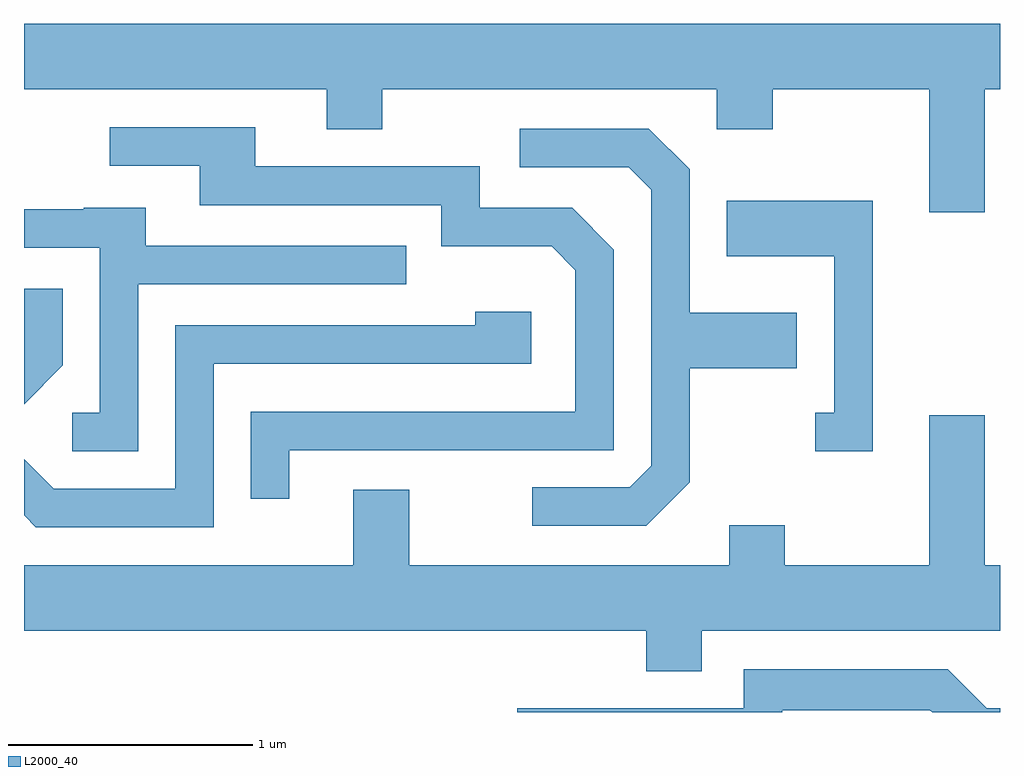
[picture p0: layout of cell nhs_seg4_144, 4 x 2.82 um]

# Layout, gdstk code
import gdstk
lib = gdstk.Library(unit=1e-6, precision=1e-09)
def P(c, l, *ps):  # polygons
    for p in ps: c.add(gdstk.Polygon(p, *l))
L2000_40 = (2000, 40)

nhs_seg4_144 = lib.new_cell('nhs_seg4_144')
P(nhs_seg4_144, L2000_40, [(193.549,1272.536),(193.611,1272.536),(193.611,1272.804),(189.611,1272.804),(189.611,1272.536),(190.851,1272.536),(190.851,1272.371),(191.079,1272.371),(191.079,1272.536),(192.451,1272.536),(192.451,1272.371),(192.679,1272.371),(192.679,1272.536),(193.321,1272.536),(193.321,1272.031),(193.549,1272.031)],
  [(190.699,1271.056),(192.029,1271.056),(192.029,1271.877),(191.857,1272.049),(191.479,1272.049),(191.479,1272.219),(190.559,1272.219),(190.559,1272.379),(189.963,1272.379),(189.963,1272.221),(190.331,1272.221),(190.331,1272.061),(191.321,1272.061),(191.321,1271.891),(191.774,1271.891),(191.871,1271.794),(191.871,1271.214),(190.541,1271.214),(190.541,1270.858),(190.699,1270.858)],
  [(192.339,1270.924),(192.339,1271.391),(192.779,1271.391),(192.779,1271.619),(192.339,1271.619),(192.339,1272.207),(192.172,1272.374),(191.643,1272.374),(191.643,1272.216),(192.089,1272.216),(192.181,1272.124),(192.181,1270.992),(192.094,1270.904),(191.693,1270.904),(191.693,1270.746),(192.162,1270.746)],
  [(193.089,1272.079),(192.491,1272.079),(192.491,1271.851),(192.931,1271.851),(192.931,1271.209),(192.853,1271.209),(192.853,1271.051),(193.089,1271.051)],
  [(190.079,1271.736),(191.178,1271.736),(191.178,1271.894),(190.109,1271.894),(190.109,1272.049),(189.855,1272.049),(189.855,1272.044),(189.611,1272.044),(189.611,1271.886),(189.921,1271.886),(189.921,1271.209),(189.808,1271.209),(189.808,1271.051),(190.079,1271.051)],
  [(189.769,1271.404),(189.769,1271.718),(189.611,1271.718),(189.611,1271.245)],
  [(190.389,1271.411),(191.689,1271.411),(191.689,1271.624),(191.461,1271.624),(191.461,1271.569),(190.231,1271.569),(190.231,1270.899),(189.732,1270.899),(189.611,1271.02),(189.611,1270.789),(189.659,1270.741),(190.389,1270.741)],
  [(192.389,1270.316),(193.611,1270.316),(193.611,1270.584),(193.549,1270.584),(193.549,1271.199),(193.321,1271.199),(193.321,1270.584),(192.729,1270.584),(192.729,1270.749),(192.501,1270.749),(192.501,1270.584),(191.189,1270.584),(191.189,1270.894),(190.961,1270.894),(190.961,1270.584),(189.611,1270.584),(189.611,1270.316),(192.161,1270.316),(192.161,1270.151),(192.389,1270.151)],
  [(192.719,1269.991),(193.324,1269.991),(193.333,1269.982),(193.611,1269.982),(193.611,1269.999),(193.557,1269.999),(193.397,1270.159),(192.561,1270.159),(192.561,1269.999),(191.633,1269.999),(191.633,1269.982),(192.719,1269.982)])

lib.write_gds('nhs_seg4_144.gds')
